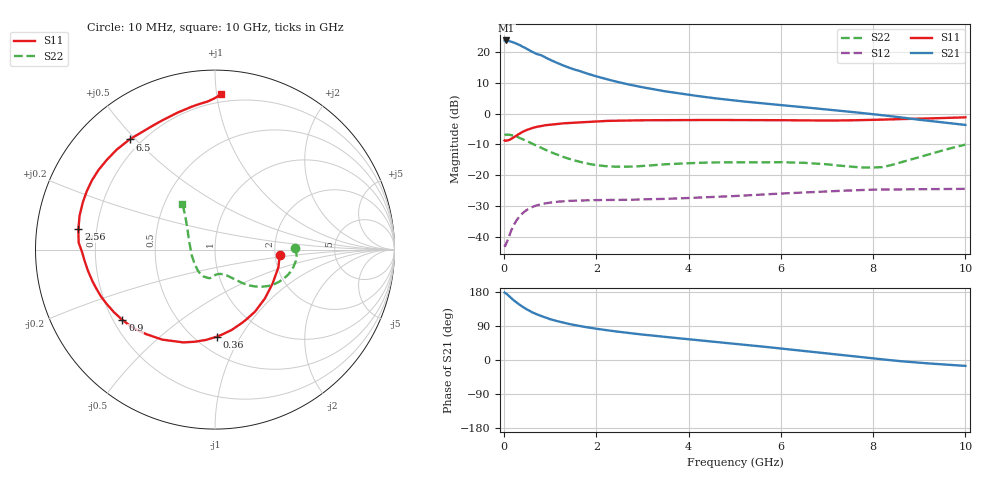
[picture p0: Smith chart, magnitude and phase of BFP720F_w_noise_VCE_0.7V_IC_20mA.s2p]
! Infineon Technologies  Discrete & RF Semiconductors
! BFP720F
! VCE =  0.7 V,  IC =  20 mA
! Common Emitter S-Parameters:  Jan 2016
# GHz  S  MA  R  50
!  f  S11  S21  S12  S22
! GHz  MAG  ANG  MAG  ANG  MAG  ANG  MAG  ANG
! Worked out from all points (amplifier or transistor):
!   233 points, 10 MHz to 10 GHz, reference 50 ohm
!   highest |S21| = 23.7 dB at 50 MHz (marker M1)
!   |S21| within 3 dB of that: start of sweep to 527 MHz
!   unconditionally stable (mu >= 1): start of sweep to 534.5 MHz; 1.057 GHz to end of sweep
!   at 200 MHz: K = 1.65, MAG = 25.0 dB, |S12| = -36.4 dB
!   at 1.74 GHz: K = 1.26, MAG = 17.6 dB, |S12| = -28.1 dB
!   at 10 GHz: K = 3.02, MAG = 2.7 dB, |S12| = -24.4 dB
!   lowest NFmin = 0.86 dB at 450 MHz
!   S11 on the Smith chart (normalised r, x): 10 MHz: 2.14, -0.14; 360 MHz: 0.63, -0.80; 900 MHz: 0.24, -0.32; 2.56 GHz: 0.13, +0.07; 6.5 GHz: 0.16, +0.48; 10 GHz: 0.15, +1.03
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0.01  0.3659 -4.3  15.22 177.9  0.0075 6.8  0.4457 1.0
0.05  0.3666 -15.4  15.29 175.0  0.008 22.8  0.4562 -4.1
0.105  0.3729 -31.7  14.99 168.8  0.0102 36.8  0.4542 -8.2
0.2  0.4108 -56.9  14.25 158.3  0.0151 45.1  0.4397 -16.0
0.3  0.4574 -78.4  13.21 148.9  0.02 44.9  0.4137 -23.2
0.36  0.4854 -88.9  12.63 143.8  0.0227 43.3  0.3975 -27.1
0.46  0.5292 -103.7  11.54 136.0  0.0264 40.0  0.3688 -32.8
0.6  0.5811 -120.3  10.08 126.4  0.0304 35.2  0.327 -39.4
0.7  0.6075 -129.2  9.258 120.8  0.0324 32.2  0.3017 -42.8
0.8  0.6303 -135.9  8.817 116.1  0.034 29.6  0.279 -46.0
0.9  0.6481 -142.7  8.049 111.5  0.0352 27.2  0.2584 -48.4
1.08  0.6724 -152.4  6.966 104.8  0.0368 23.8  0.2261 -52.5
1.24  0.69 -159.3  6.185 99.8  0.0377 21.5  0.2036 -55.6
1.68  0.7223 -172.6  4.762 88.8  0.0391 17.2  0.1625 -64.1
2.18  0.7582 177.5  3.671 79.4  0.0398 14.8  0.141 -74.7
2.56  0.7693 171.4  3.124 73.3  0.04 14.0  0.1374 -82.2
3.4  0.7806 161.5  2.359 62.1  0.0413 14.3  0.1489 -93.1
5.1  0.785 144.6  1.596 41.5  0.0465 15.4  0.1625 -104.1
6.5  0.7769 127.8  1.266 23.6  0.0528 13.2  0.1592 -120.0
6.8  0.7722 123.4  1.203 19.8  0.0541 12.3  0.1537 -125.5
8.4  0.8059 99.5  0.904 -0.8  0.059 6.2  0.1467 165.6
10  0.8681 87.9  0.654 -15.6  0.0603 2.4  0.3135 125.3
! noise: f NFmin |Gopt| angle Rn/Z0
0.45  0.86  0.16  0  0.43
0.9  0.89  0.09  -6  0.15
1.8  0.92  0.07  -52  0.15
2.4  0.94  0.08  -58  0.15
5.5  1.06  0.08  -60  0.14
10  1.24  0.38  -81  0.26
